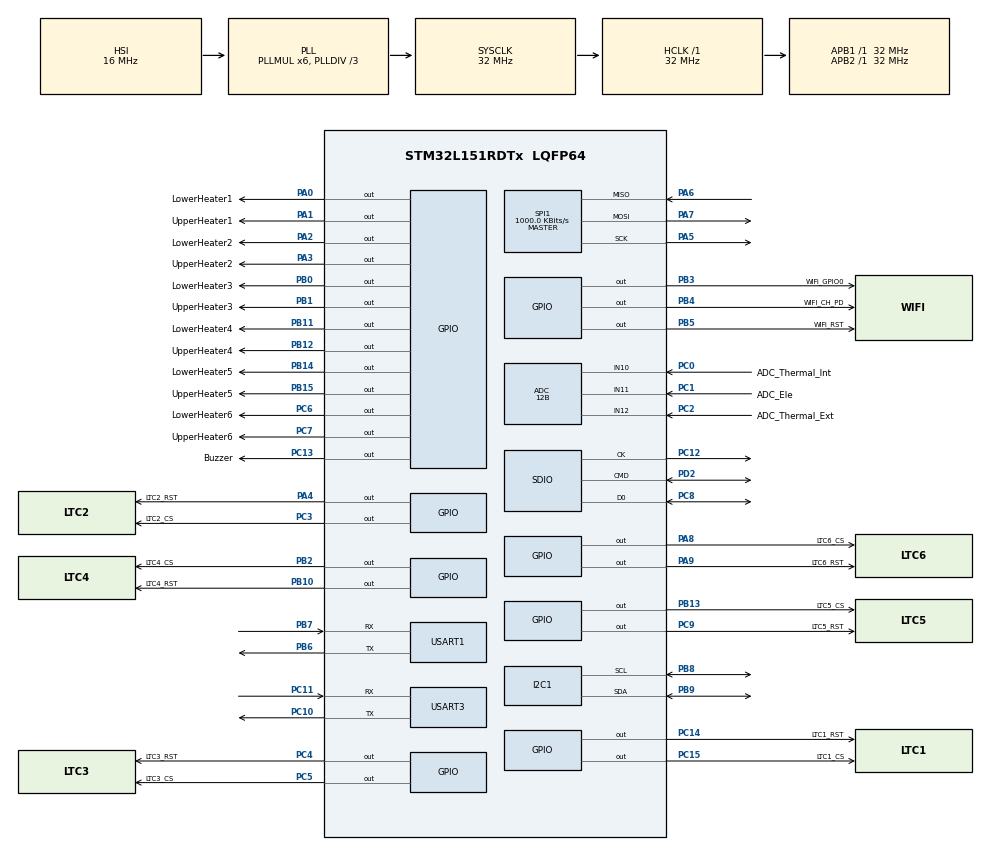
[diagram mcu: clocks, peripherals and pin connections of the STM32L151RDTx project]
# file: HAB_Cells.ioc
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ADC.Channel-0\#ChannelRegularConversion=ADC_CHANNEL_10
ADC.ChannelsBank=ADC_CHANNELS_BANK_A
ADC.ClockPrescaler=ADC_CLOCK_ASYNC_DIV1
ADC.ContinuousConvMode=DISABLE
ADC.DMAContinuousRequests=DISABLE
ADC.DataAlign=ADC_DATAALIGN_RIGHT
ADC.DiscontinuousConvMode=DISABLE
ADC.EOCSelection=ADC_EOC_SEQ_CONV
ADC.EnableAnalogWatchDog=false
ADC.ExternalTrigConv=ADC_SOFTWARE_START
ADC.ExternalTrigConvEdge=ADC_EXTERNALTRIGCONVEDGE_NONE
ADC.InjNumberOfConversion=0
ADC.LowPowerAutoPowerOff=ADC_AUTOPOWEROFF_DISABLE
ADC.LowPowerAutoWait=ADC_AUTOWAIT_DISABLE
ADC.NbrOfConversion=1
ADC.NbrOfConversionFlag=1
ADC.Rank-0\#ChannelRegularConversion=1
ADC.Resolution=ADC_RESOLUTION_12B
ADC.SamplingTime-0\#ChannelRegularConversion=ADC_SAMPLETIME_4CYCLES
ADC.ScanConvMode=ADC_SCAN_DISABLE
Dma.Request0=USART1_RX
Dma.Request1=USART1_TX
Dma.Request2=USART3_RX
Dma.Request3=USART3_TX
Dma.USART1_RX.0.Direction=DMA_PERIPH_TO_MEMORY
Dma.USART1_RX.0.Instance=DMA1_Channel5
Dma.USART1_RX.0.MemDataAlignment=DMA_MDATAALIGN_BYTE
Dma.USART1_RX.0.MemInc=DMA_MINC_ENABLE
Dma.USART1_RX.0.Mode=DMA_NORMAL
Dma.USART1_RX.0.PeriphDataAlignment=DMA_PDATAALIGN_BYTE
Dma.USART1_RX.0.PeriphInc=DMA_PINC_DISABLE
Dma.USART1_RX.0.Priority=DMA_PRIORITY_LOW
Dma.USART1_TX.1.Direction=DMA_MEMORY_TO_PERIPH
Dma.USART1_TX.1.Instance=DMA1_Channel4
Dma.USART1_TX.1.MemDataAlignment=DMA_MDATAALIGN_BYTE
Dma.USART1_TX.1.MemInc=DMA_MINC_ENABLE
Dma.USART1_TX.1.Mode=DMA_NORMAL
Dma.USART1_TX.1.PeriphDataAlignment=DMA_PDATAALIGN_BYTE
Dma.USART1_TX.1.PeriphInc=DMA_PINC_DISABLE
Dma.USART1_TX.1.Priority=DMA_PRIORITY_LOW
Dma.USART3_RX.2.Direction=DMA_PERIPH_TO_MEMORY
Dma.USART3_RX.2.Instance=DMA1_Channel3
Dma.USART3_RX.2.MemDataAlignment=DMA_MDATAALIGN_BYTE
Dma.USART3_RX.2.MemInc=DMA_MINC_ENABLE
Dma.USART3_RX.2.Mode=DMA_NORMAL
Dma.USART3_RX.2.PeriphDataAlignment=DMA_PDATAALIGN_BYTE
Dma.USART3_RX.2.PeriphInc=DMA_PINC_DISABLE
Dma.USART3_RX.2.Priority=DMA_PRIORITY_LOW
Dma.USART3_TX.3.Direction=DMA_MEMORY_TO_PERIPH
Dma.USART3_TX.3.Instance=DMA1_Channel2
Dma.USART3_TX.3.MemDataAlignment=DMA_MDATAALIGN_BYTE
Dma.USART3_TX.3.MemInc=DMA_MINC_ENABLE
Dma.USART3_TX.3.Mode=DMA_NORMAL
Dma.USART3_TX.3.PeriphDataAlignment=DMA_PDATAALIGN_BYTE
Dma.USART3_TX.3.PeriphInc=DMA_PINC_DISABLE
Dma.USART3_TX.3.Priority=DMA_PRIORITY_LOW
FATFS._MAX_SS=4096
FREERTOS.BinarySemaphores01=UART_WiFi_Tx_Cplt,Dynamic,NULL;UART_WiFi_Rx_Cplt,Dynamic,NULL;UART_Debug_Rx_Cplt,Dynamic,NULL;UART_Debug_Tx_Cplt,Dynamic,NULL
FREERTOS.INCLUDE_vTaskDelayUntil=1
FREERTOS.Queues01=qToHeatingTask,4,pidSignals_t,NULL,Dynamic,NULL,NULL;qToSaveTask,2,saveData_t,NULL,Dynamic,NULL,NULL;qToWatchdogTask,5,uint8_t,NULL,Dynamic,NULL,NULL;qFromUartDebug,1,uint8_t,NULL,Dynamic,NULL,NULL
FREERTOS.Tasks01=SaveTask,0,3060,StartSaveTask,Default,NULL,Dynamic,NULL,NULL;WatchdogTask,0,128,StartWatchdogTask,Default,NULL,Dynamic,NULL,NULL;HeatingTask,3,128,StartHeatingTask,Default,NULL,Dynamic,NULL,NULL;ControlTask,2,1024,StartControlTask,Default,NULL,Dynamic,NULL,NULL
FREERTOS.configTOTAL_HEAP_SIZE=24576
Mcu.Family=STM32L1
Mcu.Name=STM32L151RDTx
Mcu.Package=LQFP64
NVIC.DMA1_Channel2_IRQn=true\:5\:0\:false\:false\:true\:true
NVIC.DMA1_Channel3_IRQn=true\:5\:0\:false\:false\:true\:true
NVIC.DMA1_Channel4_IRQn=true\:5\:0\:false\:false\:true\:true
NVIC.DMA1_Channel5_IRQn=true\:5\:0\:false\:false\:true\:true
NVIC.PriorityGroup=NVIC_PRIORITYGROUP_4
NVIC.TIM2_IRQn=true\:0\:0\:false\:false\:true\:false
NVIC.TIM6_IRQn=true\:5\:0\:false\:false\:true\:true
NVIC.TimeBase=TIM2_IRQn
NVIC.TimeBaseIP=TIM2
NVIC.USART1_IRQn=true\:5\:0\:false\:false\:true\:true
NVIC.USART3_IRQn=true\:5\:0\:false\:false\:true\:true
PA0-WKUP1.GPIO_Label=LowerHeater1
PA0-WKUP1.Signal=GPIO_Output
PA1.GPIO_Label=UpperHeater1
PA1.Signal=GPIO_Output
PA13.Mode=Serial_Wire
PA13.Signal=SYS_JTMS-SWDIO
PA14.Mode=Serial_Wire
PA14.Signal=SYS_JTCK-SWCLK
PA2.GPIO_Label=LowerHeater2
PA2.Signal=GPIO_Output
PA3.GPIO_Label=UpperHeater2
PA3.Signal=GPIO_Output
PA4.GPIO_Label=LTC2_RST
PA4.PinState=GPIO_PIN_SET
PA4.Signal=GPIO_Output
PA5.Mode=Full_Duplex_Master
PA5.Signal=SPI1_SCK
PA6.Mode=Full_Duplex_Master
PA6.Signal=SPI1_MISO
PA7.Mode=Full_Duplex_Master
PA7.Signal=SPI1_MOSI
PA8.GPIO_Label=LTC6_CS
PA8.PinState=GPIO_PIN_SET
PA8.Signal=GPIO_Output
PA9.GPIO_Label=LTC6_RST
PA9.PinState=GPIO_PIN_SET
PA9.Signal=GPIO_Output
PB0.GPIO_Label=LowerHeater3
PB0.Signal=GPIO_Output
PB1.GPIO_Label=UpperHeater3
PB1.Signal=GPIO_Output
PB10.GPIO_Label=LTC4_RST
PB10.PinState=GPIO_PIN_SET
PB10.Signal=GPIO_Output
PB11.GPIO_Label=LowerHeater4
PB11.Signal=GPIO_Output
PB12.GPIO_Label=UpperHeater4
PB12.Signal=GPIO_Output
PB13.GPIO_Label=LTC5_CS
PB13.PinState=GPIO_PIN_SET
PB13.Signal=GPIO_Output
PB14.GPIO_Label=LowerHeater5
PB14.Signal=GPIO_Output
PB15.GPIO_Label=UpperHeater5
PB15.Signal=GPIO_Output
PB2.GPIO_Label=LTC4_CS
PB2.PinState=GPIO_PIN_SET
PB2.Signal=GPIO_Output
PB3.GPIO_Label=WiFi_GPIO0
PB3.Signal=GPIO_Output
PB4.GPIO_Label=WiFI_CH_PD
PB4.Signal=GPIO_Output
PB5.GPIO_Label=WiFi_RST
PB5.Signal=GPIO_Output
PB6.Mode=Asynchronous
PB6.Signal=USART1_TX
PB7.Mode=Asynchronous
PB7.Signal=USART1_RX
PB8.Mode=I2C
PB8.Signal=I2C1_SCL
PB9.Mode=I2C
PB9.Signal=I2C1_SDA
PC0.GPIO_Label=ADC_Thermal_Int
PC0.Mode=IN10
PC0.Signal=ADC_IN10
PC1.GPIO_Label=ADC_Ele
PC1.Mode=IN11
PC1.Signal=ADC_IN11
PC10.Mode=Asynchronous
PC10.Signal=USART3_TX
PC11.Mode=Asynchronous
PC11.Signal=USART3_RX
PC12.Mode=SD_1_bit
PC12.Signal=SDIO_CK
PC13-WKUP2.GPIO_Label=Buzzer
PC13-WKUP2.Signal=GPIO_Output
PC14-OSC32_IN.GPIO_Label=LTC1_RST
PC14-OSC32_IN.PinState=GPIO_PIN_SET
PC14-OSC32_IN.Signal=GPIO_Output
PC15-OSC32_OUT.GPIO_Label=LTC1_CS
PC15-OSC32_OUT.PinState=GPIO_PIN_SET
PC15-OSC32_OUT.Signal=GPIO_Output
PC2.GPIO_Label=ADC_Thermal_Ext
PC2.Mode=IN12
PC2.Signal=ADC_IN12
PC3.GPIO_Label=LTC2_CS
PC3.PinState=GPIO_PIN_SET
PC3.Signal=GPIO_Output
PC4.GPIO_Label=LTC3_RST
PC4.PinState=GPIO_PIN_SET
PC4.Signal=GPIO_Output
PC5.GPIO_Label=LTC3_CS
PC5.PinState=GPIO_PIN_SET
PC5.Signal=GPIO_Output
PC6.GPIO_Label=LowerHeater6
PC6.Signal=GPIO_Output
PC7.GPIO_Label=UpperHeater6
PC7.Signal=GPIO_Output
PC8.Mode=SD_1_bit
PC8.Signal=SDIO_D0
PC9.GPIO_Label=LTC5_RST
PC9.PinState=GPIO_PIN_SET
PC9.Signal=GPIO_Output
PD2.Mode=SD_1_bit
PD2.Signal=SDIO_CMD
ProjectManager.HeapSize=0x400
ProjectManager.StackSize=0x800
ProjectManager.TargetToolchain=SW4STM32
RCC.AHBFreq_Value=32000000
RCC.APB1Freq_Value=32000000
RCC.APB1TimFreq_Value=32000000
RCC.APB2Freq_Value=32000000
RCC.APB2TimFreq_Value=32000000
RCC.HCLKFreq_Value=32000000
RCC.HSE_VALUE=24000000
RCC.HSI_VALUE=16000000
RCC.LSE_VALUE=32768
RCC.MSI_VALUE=2097000
RCC.PLLDIV=RCC_PLL_DIV3
RCC.PLLMUL=RCC_PLL_MUL6
RCC.SYSCLKFreq_VALUE=32000000
RCC.SYSCLKSource=RCC_SYSCLKSOURCE_PLLCLK
RCC.USBOutput=48000000
RCC.VCOOutputFreq_Value=96000000
SPI1.BaudRatePrescaler=SPI_BAUDRATEPRESCALER_32
SPI1.CalculateBaudRate=1000.0 KBits/s
SPI1.Direction=SPI_DIRECTION_2LINES
SPI1.Mode=SPI_MODE_MASTER
SPI1.VirtualType=VM_MASTER
TIM6.Period=104
TIM6.Prescaler=32
USART1.VirtualMode=VM_ASYNC
USART3.VirtualMode=VM_ASYNC
VP_FATFS_VS_SDIO.Mode=SDIO
VP_FREERTOS_VS_ENABLE.Mode=Enabled
VP_SYS_VS_tim2.Mode=TIM2
VP_TIM6_VS_ClockSourceINT.Mode=Enable_Timer
board=HAB_Cells

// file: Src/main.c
/**
 ******************************************************************************
 * File Name          : main.c
 * Description        : Main program body
 ******************************************************************************
 * This notice applies to any and all portions of this file
 * that are not between comment pairs USER CODE BEGIN and
 * USER CODE END. Other portions of this file, whether
 * inserted by the user or by software development tools
 * are owned by their respective copyright owners.
 *
 * Copyright (c) 2020 STMicroelectronics International N.V.
 * All rights reserved.
 *
 * Redistribution and use in source and binary forms, with or without
 * modification, are permitted, provided that the following conditions are met:
 *
 * 1. Redistribution of source code must retain the above copyright notice,
 *    this list of conditions and the following disclaimer.
 * 2. Redistributions in binary form must reproduce the above copyright notice,
 *    this list of conditions and the following disclaimer in the documentation
 *    and/or other materials provided with the distribution.
 * 3. Neither the name of STMicroelectronics nor the names of other
 *    contributors to this software may be used to endorse or promote products
 *    derived from this software without specific written permission.
 * 4. This software, including modifications and/or derivative works of this
 *    software, must execute solely and exclusively on microcontroller or
 *    microprocessor devices manufactured by or for STMicroelectronics.
 * 5. Redistribution and use of this software other than as permitted under
 *    this license is void and will automatically terminate your rights under
 *    this license.
 *
 * THIS SOFTWARE IS PROVIDED BY STMICROELECTRONICS AND CONTRIBUTORS "AS IS"
 * AND ANY EXPRESS, IMPLIED OR STATUTORY WARRANTIES, INCLUDING, BUT NOT
 * LIMITED TO, THE IMPLIED WARRANTIES OF MERCHANTABILITY, FITNESS FOR A
 * PARTICULAR PURPOSE AND NON-INFRINGEMENT OF THIRD PARTY INTELLECTUAL PROPERTY
 * RIGHTS ARE DISCLAIMED TO THE FULLEST EXTENT PERMITTED BY LAW. IN NO EVENT
 * SHALL STMICROELECTRONICS OR CONTRIBUTORS BE LIABLE FOR ANY DIRECT, INDIRECT,
 * INCIDENTAL, SPECIAL, EXEMPLARY, OR CONSEQUENTIAL DAMAGES (INCLUDING, BUT NOT
 * LIMITED TO, PROCUREMENT OF SUBSTITUTE GOODS OR SERVICES; LOSS OF USE, DATA,
 * OR PROFITS; OR BUSINESS INTERRUPTION) HOWEVER CAUSED AND ON ANY THEORY OF
 * LIABILITY, WHETHER IN CONTRACT, STRICT LIABILITY, OR TORT (INCLUDING
 * NEGLIGENCE OR OTHERWISE) ARISING IN ANY WAY OUT OF THE USE OF THIS SOFTWARE,
 * EVEN IF ADVISED OF THE POSSIBILITY OF SUCH DAMAGE.
 *
 ******************************************************************************
 */
#include "main.h"
#include "stm32l1xx_hal.h"
#include "cmsis_os.h"
#include "fatfs.h"

/* USER CODE BEGIN Includes */
#include <inttypes.h>
#include "LTC2983.h"
#define ARM_MATH_CM3
#include "arm_math.h"
#define LED_CONTROL_ADDR  (0x40 << 1)
#define DS3231Addr (0b1101000 << 1)

#define SET_TEMPERATURE  36.6f

#define PID_PARAM_KP  1.0f
#define PID_PARAM_KI  0.0f
#define PID_PARAM_KD  0.0f

#define LEDDRIVERAddr   (0b0100000 << 1)

#define UART_DEBUG huart3
#define UART_WIFI huart1
/* USER CODE END Includes */

ADC_HandleTypeDef hadc;

I2C_HandleTypeDef hi2c1;

SD_HandleTypeDef hsd;
HAL_SD_CardInfoTypedef SDCardInfo;

SPI_HandleTypeDef hspi1;

TIM_HandleTypeDef htim6;

UART_HandleTypeDef huart1;
UART_HandleTypeDef huart3;
DMA_HandleTypeDef hdma_usart1_rx;
DMA_HandleTypeDef hdma_usart1_tx;
DMA_HandleTypeDef hdma_usart3_rx;
DMA_HandleTypeDef hdma_usart3_tx;

osThreadId SaveTaskHandle;
osThreadId WatchdogTaskHandle;
osThreadId HeatingTaskHandle;
osThreadId ControlTaskHandle;
osMessageQId qToHeatingTaskHandle;
osMessageQId qToSaveTaskHandle;
osMessageQId qToWatchdogTaskHandle;
osMessageQId qFromUartDebugHandle;
osSemaphoreId UART_WiFi_Tx_CpltHandle;
osSemaphoreId UART_WiFi_Rx_CpltHandle;
osSemaphoreId UART_Debug_Rx_CpltHandle;
osSemaphoreId UART_Debug_Tx_CpltHandle;

/* USER CODE BEGIN PV */
/* Private variables ---------------------------------------------------------*/

FATFS my_fatfs;
FIL my_file;
UINT my_error;

uint8_t received_char = 0;
volatile uint8_t received_cnt = 0;
volatile uint8_t flag_PID_changed = 0;

uint8_t received_buf[128];

volatile float received_kp = PID_PARAM_KP;
volatile float received_ki = PID_PARAM_KI;
volatile float received_kd = PID_PARAM_KD;

const char* const dataStrings[] = { "Upper Sample: ", "Lower Sample: ",
		"Upper Heater: ", "Lower Heater: ", "Ambient: " };
uint8_t initMessage[] = "\r\nRESET\r\n";

typedef struct saveData_t_def {
	int32_t Temps[30];
	uint8_t LTCStatusMask[6];
	uint8_t Signals[12];
} saveData_t;

typedef struct calcPIDdata_t_def {
	float Temps[12];
	uint8_t Status[12];
} calcPIDdata_t;

typedef struct pidSignals_t_def {
	uint8_t Signals[12];
} pidSignals_t;
/* USER CODE END PV */

void SystemClock_Config(void);
static void MX_GPIO_Init(void);
static void MX_DMA_Init(void);
static void MX_ADC_Init(void);
static void MX_I2C1_Init(void);
static void MX_SDIO_SD_Init(void);
static void MX_SPI1_Init(void);
static void MX_USART1_UART_Init(void);
static void MX_USART3_UART_Init(void);
static void MX_TIM6_Init(void);
void StartSaveTask(void const * argument);
void StartWatchdogTask(void const * argument);
void StartHeatingTask(void const * argument);
void StartControlTask(void const * argument);

/* USER CODE BEGIN PFP */
/* Private function prototypes -----------------------------------------------*/
void HAL_UART_RxCpltCallback(UART_HandleTypeDef *huart) {

	if (huart->Instance == USART3)
	{
		if (received_cnt < sizeof(received_buf) - 1) {
			received_buf[received_cnt++] = received_char;
		}
		if (received_char == '\r') {
			received_buf[received_cnt - 1] = '\0';
			xSemaphoreGiveFromISR(UART_Debug_Rx_CpltHandle, NULL);
		}
		HAL_UART_Receive_DMA(&UART_DEBUG, &received_char, 1);
	}
	if (huart->Instance == USART1)
	{
		xSemaphoreGiveFromISR(UART_WiFi_Rx_CpltHandle, NULL);
	}
}

void HAL_UART_TxCpltCallback(UART_HandleTypeDef *huart) {

	if (huart->Instance == USART3)
	{
		xSemaphoreGiveFromISR(UART_WiFi_Tx_CpltHandle, NULL);
	}
	if (huart->Instance == USART1)
	{
		xSemaphoreGiveFromISR(UART_WiFi_Rx_CpltHandle, NULL);
	}
}

/* USER CODE END PFP */

int main(void) {

	/* MCU Configuration----------------------------------------------------------*/

	/* Reset of all peripherals, Initializes the Flash interface and the Systick. */
	HAL_Init();

	/* Configure the system clock */
	SystemClock_Config();

	/* Initialize all configured peripherals */
	MX_GPIO_Init();
	MX_DMA_Init();
	MX_ADC_Init();
	MX_I2C1_Init();
	MX_SDIO_SD_Init();
	MX_SPI1_Init();
	MX_USART1_UART_Init();
	MX_USART3_UART_Init();
	MX_TIM6_Init();

	/* Create the semaphores(s) */
	/* definition and creation of UART_WiFi_Tx_Cplt */
	osSemaphoreDef(UART_WiFi_Tx_Cplt);
	UART_WiFi_Tx_CpltHandle = osSemaphoreCreate(osSemaphore(UART_WiFi_Tx_Cplt),
			1);

	/* definition and creation of UART_WiFi_Rx_Cplt */
	osSemaphoreDef(UART_WiFi_Rx_Cplt);
	UART_WiFi_Rx_CpltHandle = osSemaphoreCreate(osSemaphore(UART_WiFi_Rx_Cplt),
			1);

	/* definition and creation of UART_Debug_Rx_Cplt */
	osSemaphoreDef(UART_Debug_Rx_Cplt);
	UART_Debug_Rx_CpltHandle = osSemaphoreCreate(
			osSemaphore(UART_Debug_Rx_Cplt), 1);

	/* definition and creation of UART_Debug_Tx_Cplt */
	osSemaphoreDef(UART_Debug_Tx_Cplt);
	UART_Debug_Tx_CpltHandle = osSemaphoreCreate(
			osSemaphore(UART_Debug_Tx_Cplt), 1);

	/* Create the thread(s) */
	/* definition and creation of SaveTask */
	osThreadDef(SaveTask, StartSaveTask, osPriorityNormal, 0, 3060);
	SaveTaskHandle = osThreadCreate(osThread(SaveTask), NULL);

	/* definition and creation of WatchdogTask */
	osThreadDef(WatchdogTask, StartWatchdogTask, osPriorityNormal, 0, 128);
	WatchdogTaskHandle = osThreadCreate(osThread(WatchdogTask), NULL);

	/* definition and creation of HeatingTask */
	osThreadDef(HeatingTask, StartHeatingTask, osPriorityRealtime, 0, 128);
	HeatingTaskHandle = osThreadCreate(osThread(HeatingTask), NULL);

	/* definition and creation of ControlTask */
	osThreadDef(ControlTask, StartControlTask, osPriorityHigh, 0, 1024);
	ControlTaskHandle = osThreadCreate(osThread(ControlTask), NULL);

	/* Create the queue(s) */
	/* definition and creation of qToHeatingTask */
	osMessageQDef(qToHeatingTask, 4, pidSignals_t);
	qToHeatingTaskHandle = osMessageCreate(osMessageQ(qToHeatingTask), NULL);

	/* definition and creation of qToSaveTask */
	osMessageQDef(qToSaveTask, 2, saveData_t);
	qToSaveTaskHandle = osMessageCreate(osMessageQ(qToSaveTask), NULL);

	/* definition and creation of qToWatchdogTask */
	osMessageQDef(qToWatchdogTask, 5, uint8_t);
	qToWatchdogTaskHandle = osMessageCreate(osMessageQ(qToWatchdogTask), NULL);

	/* definition and creation of qFromUartDebug */
	osMessageQDef(qFromUartDebug, 1, uint8_t);
	qFromUartDebugHandle = osMessageCreate(osMessageQ(qFromUartDebug), NULL);

	/* Start scheduler */
	osKernelStart();

	/* We should never get here as control is now taken by the scheduler */

	/* Infinite loop */
	while (1) {

	}

}

/** System Clock Configuration
 */
void SystemClock_Config(void) {

	RCC_OscInitTypeDef RCC_OscInitStruct;
	RCC_ClkInitTypeDef RCC_ClkInitStruct;

	/**Configure the main internal regulator output voltage
	 */
	__HAL_PWR_VOLTAGESCALING_CONFIG(PWR_REGULATOR_VOLTAGE_SCALE1);

	/**Initializes the CPU, AHB and APB busses clocks
	 */
	RCC_OscInitStruct.OscillatorType = RCC_OSCILLATORTYPE_HSI;
	RCC_OscInitStruct.HSIState = RCC_HSI_ON;
	RCC_OscInitStruct.HSICalibrationValue = 16;
	RCC_OscInitStruct.PLL.PLLState = RCC_PLL_ON;
	RCC_OscInitStruct.PLL.PLLSource = RCC_PLLSOURCE_HSI;
	RCC_OscInitStruct.PLL.PLLMUL = RCC_PLL_MUL6;
	RCC_OscInitStruct.PLL.PLLDIV = RCC_PLL_DIV3;
	if (HAL_RCC_OscConfig(&RCC_OscInitStruct) != HAL_OK) {
		_Error_Handler(__FILE__, __LINE__);
	}

	/**Initializes the CPU, AHB and APB busses clocks
	 */
	RCC_ClkInitStruct.ClockType = RCC_CLOCKTYPE_HCLK | RCC_CLOCKTYPE_SYSCLK
			| RCC_CLOCKTYPE_PCLK1 | RCC_CLOCKTYPE_PCLK2;
	RCC_ClkInitStruct.SYSCLKSource = RCC_SYSCLKSOURCE_PLLCLK;
	RCC_ClkInitStruct.AHBCLKDivider = RCC_SYSCLK_DIV1;
	RCC_ClkInitStruct.APB1CLKDivider = RCC_HCLK_DIV1;
	RCC_ClkInitStruct.APB2CLKDivider = RCC_HCLK_DIV1;

	if (HAL_RCC_ClockConfig(&RCC_ClkInitStruct, FLASH_LATENCY_1) != HAL_OK) {
		_Error_Handler(__FILE__, __LINE__);
	}

	/**Configure the Systick interrupt time
	 */
	HAL_SYSTICK_Config(HAL_RCC_GetHCLKFreq() / 1000);

	/**Configure the Systick
	 */
	HAL_SYSTICK_CLKSourceConfig(SYSTICK_CLKSOURCE_HCLK);

	/* SysTick_IRQn interrupt configuration */
	HAL_NVIC_SetPriority(SysTick_IRQn, 15, 0);
}

/* ADC init function */
static void MX_ADC_Init(void) {

	ADC_ChannelConfTypeDef sConfig;

	/**Configure the global features of the ADC (Clock, Resolution, Data Alignment and number of conversion)
	 */
	hadc.Instance = ADC1;
	hadc.Init.ClockPrescaler = ADC_CLOCK_ASYNC_DIV1;
	hadc.Init.Resolution = ADC_RESOLUTION_12B;
	hadc.Init.DataAlign = ADC_DATAALIGN_RIGHT;
	hadc.Init.ScanConvMode = ADC_SCAN_DISABLE;
	hadc.Init.EOCSelection = ADC_EOC_SEQ_CONV;
	hadc.Init.LowPowerAutoWait = ADC_AUTOWAIT_DISABLE;
	hadc.Init.LowPowerAutoPowerOff = ADC_AUTOPOWEROFF_DISABLE;
	hadc.Init.ChannelsBank = ADC_CHANNELS_BANK_A;
	hadc.Init.ContinuousConvMode = DISABLE;
	hadc.Init.NbrOfConversion = 1;
	hadc.Init.DiscontinuousConvMode = DISABLE;
	hadc.Init.ExternalTrigConv = ADC_SOFTWARE_START;
	hadc.Init.ExternalTrigConvEdge = ADC_EXTERNALTRIGCONVEDGE_NONE;
	hadc.Init.DMAContinuousRequests = DISABLE;
	if (HAL_ADC_Init(&hadc) != HAL_OK) {
		_Error_Handler(__FILE__, __LINE__);
	}

	/**Configure for the selected ADC regular channel its corresponding rank in the sequencer and its sample time.
	 */
	sConfig.Channel = ADC_CHANNEL_10;
	sConfig.Rank = 1;
	sConfig.SamplingTime = ADC_SAMPLETIME_4CYCLES;
	if (HAL_ADC_ConfigChannel(&hadc, &sConfig) != HAL_OK) {
		_Error_Handler(__FILE__, __LINE__);
	}

}

/* I2C1 init function */
static void MX_I2C1_Init(void) {

	hi2c1.Instance = I2C1;
	hi2c1.Init.ClockSpeed = 100000;
	hi2c1.Init.DutyCycle = I2C_DUTYCYCLE_2;
	hi2c1.Init.OwnAddress1 = 0;
	hi2c1.Init.AddressingMode = I2C_ADDRESSINGMODE_7BIT;
	hi2c1.Init.DualAddressMode = I2C_DUALADDRESS_DISABLE;
	hi2c1.Init.OwnAddress2 = 0;
	hi2c1.Init.GeneralCallMode = I2C_GENERALCALL_DISABLE;
	hi2c1.Init.NoStretchMode = I2C_NOSTRETCH_DISABLE;
	if (HAL_I2C_Init(&hi2c1) != HAL_OK) {
		_Error_Handler(__FILE__, __LINE__);
	}

}

/* SDIO init function */
static void MX_SDIO_SD_Init(void) {

	hsd.Instance = SDIO;
	hsd.Init.ClockEdge = SDIO_CLOCK_EDGE_RISING;
	hsd.Init.ClockBypass = SDIO_CLOCK_BYPASS_DISABLE;
	hsd.Init.ClockPowerSave = SDIO_CLOCK_POWER_SAVE_DISABLE;
	hsd.Init.BusWide = SDIO_BUS_WIDE_1B;
	hsd.Init.HardwareFlowControl = SDIO_HARDWARE_FLOW_CONTROL_DISABLE;
	hsd.Init.ClockDiv = 0;

}

/* SPI1 init function */
static void MX_SPI1_Init(void) {

	hspi1.Instance = SPI1;
	hspi1.Init.Mode = SPI_MODE_MASTER;
	hspi1.Init.Direction = SPI_DIRECTION_2LINES;
	hspi1.Init.DataSize = SPI_DATASIZE_8BIT;
	hspi1.Init.CLKPolarity = SPI_POLARITY_LOW;
	hspi1.Init.CLKPhase = SPI_PHASE_1EDGE;
	hspi1.Init.NSS = SPI_NSS_SOFT;
	hspi1.Init.BaudRatePrescaler = SPI_BAUDRATEPRESCALER_32;
	hspi1.Init.FirstBit = SPI_FIRSTBIT_MSB;
	hspi1.Init.TIMode = SPI_TIMODE_DISABLE;
	hspi1.Init.CRCCalculation = SPI_CRCCALCULATION_DISABLE;
	hspi1.Init.CRCPolynomial = 10;
	if (HAL_SPI_Init(&hspi1) != HAL_OK) {
		_Error_Handler(__FILE__, __LINE__);
	}

}

/* TIM6 init function */
static void MX_TIM6_Init(void) {

	TIM_MasterConfigTypeDef sMasterConfig;

	htim6.Instance = TIM6;
	htim6.Init.Prescaler = 32;
	htim6.Init.CounterMode = TIM_COUNTERMODE_UP;
	htim6.Init.Period = 104;
	if (HAL_TIM_Base_Init(&htim6) != HAL_OK) {
		_Error_Handler(__FILE__, __LINE__);
	}

	sMasterConfig.MasterOutputTrigger = TIM_TRGO_RESET;
	sMasterConfig.MasterSlaveMode = TIM_MASTERSLAVEMODE_DISABLE;
	if (HAL_TIMEx_MasterConfigSynchronization(&htim6, &sMasterConfig)
			!= HAL_OK) {
		_Error_Handler(__FILE__, __LINE__);
	}

}

/* USART1 init function */
static void MX_USART1_UART_Init(void) {

	huart1.Instance = USART1;
	huart1.Init.BaudRate = 115200;
	huart1.Init.WordLength = UART_WORDLENGTH_8B;
	huart1.Init.StopBits = UART_STOPBITS_1;
	huart1.Init.Parity = UART_PARITY_NONE;
	huart1.Init.Mode = UART_MODE_TX_RX;
	huart1.Init.HwFlowCtl = UART_HWCONTROL_NONE;
	huart1.Init.OverSampling = UART_OVERSAMPLING_16;
	if (HAL_UART_Init(&huart1) != HAL_OK) {
		_Error_Handler(__FILE__, __LINE__);
	}

}

/* USART3 init function */
static void MX_USART3_UART_Init(void) {

	huart3.Instance = USART3;
	huart3.Init.BaudRate = 115200;
	huart3.Init.WordLength = UART_WORDLENGTH_8B;
	huart3.Init.StopBits = UART_STOPBITS_1;
	huart3.Init.Parity = UART_PARITY_NONE;
	huart3.Init.Mode = UART_MODE_TX_RX;
	huart3.Init.HwFlowCtl = UART_HWCONTROL_NONE;
	huart3.Init.OverSampling = UART_OVERSAMPLING_16;
	if (HAL_UART_Init(&huart3) != HAL_OK) {
		_Error_Handler(__FILE__, __LINE__);
	}

}

static void MX_DMA_Init(void) {
	/* DMA controller clock enable */
	__HAL_RCC_DMA1_CLK_ENABLE()
	;

	/* DMA interrupt init */
	/* DMA1_Channel2_IRQn interrupt configuration */
	HAL_NVIC_SetPriority(DMA1_Channel2_IRQn, 5, 0);
	HAL_NVIC_EnableIRQ(DMA1_Channel2_IRQn);
	/* DMA1_Channel3_IRQn interrupt configuration */
	HAL_NVIC_SetPriority(DMA1_Channel3_IRQn, 5, 0);
	HAL_NVIC_EnableIRQ(DMA1_Channel3_IRQn);
	/* DMA1_Channel4_IRQn interrupt configuration */
	HAL_NVIC_SetPriority(DMA1_Channel4_IRQn, 5, 0);
	HAL_NVIC_EnableIRQ(DMA1_Channel4_IRQn);
	/* DMA1_Channel5_IRQn interrupt configuration */
	HAL_NVIC_SetPriority(DMA1_Channel5_IRQn, 5, 0);
	HAL_NVIC_EnableIRQ(DMA1_Channel5_IRQn);

}

/** Configure pins as
 * Analog
 * Input
 * Output
 * EVENT_OUT
 * EXTI
 */
static void MX_GPIO_Init(void) {

	GPIO_InitTypeDef GPIO_InitStruct;

	/* GPIO Ports Clock Enable */
	__HAL_RCC_GPIOC_CLK_ENABLE()
	;
	__HAL_RCC_GPIOA_CLK_ENABLE()
	;
	__HAL_RCC_GPIOB_CLK_ENABLE()
	;
	__HAL_RCC_GPIOD_CLK_ENABLE()
	;

	/*Configure GPIO pin Output Level */
	HAL_GPIO_WritePin(GPIOC, Buzzer_Pin | LowerHeater6_Pin | UpperHeater6_Pin,
			GPIO_PIN_RESET);

	/*Configure GPIO pin Output Level */
	HAL_GPIO_WritePin(GPIOC,
			LTC1_RST_Pin | LTC1_CS_Pin | LTC2_CS_Pin | LTC3_RST_Pin
					| LTC3_CS_Pin | LTC5_RST_Pin, GPIO_PIN_SET);

	/*Configure GPIO pin Output Level */
	HAL_GPIO_WritePin(GPIOA,
			LowerHeater1_Pin | UpperHeater1_Pin | LowerHeater2_Pin
					| UpperHeater2_Pin, GPIO_PIN_RESET);

	/*Configure GPIO pin Output Level */
	HAL_GPIO_WritePin(GPIOA, LTC2_RST_Pin | LTC6_CS_Pin | LTC6_RST_Pin,
			GPIO_PIN_SET);

	/*Configure GPIO pin Output Level */
	HAL_GPIO_WritePin(GPIOB,
			LowerHeater3_Pin | UpperHeater3_Pin | LowerHeater4_Pin
					| UpperHeater4_Pin | LowerHeater5_Pin | UpperHeater5_Pin
					| WiFi_GPIO0_Pin | WiFI_CH_PD_Pin | WiFi_RST_Pin,
			GPIO_PIN_RESET);

	/*Configure GPIO pin Output Level */
	HAL_GPIO_WritePin(GPIOB, LTC4_CS_Pin | LTC4_RST_Pin | LTC5_CS_Pin,
			GPIO_PIN_SET);

	/*Configure GPIO pins : Buzzer_Pin LTC1_RST_Pin LTC1_CS_Pin LTC2_CS_Pin
	 LTC3_RST_Pin LTC3_CS_Pin LowerHeater6_Pin UpperHeater6_Pin
	 LTC5_RST_Pin */
	GPIO_InitStruct.Pin = Buzzer_Pin | LTC1_RST_Pin | LTC1_CS_Pin | LTC2_CS_Pin
			| LTC3_RST_Pin | LTC3_CS_Pin | LowerHeater6_Pin | UpperHeater6_Pin
			| LTC5_RST_Pin;
	GPIO_InitStruct.Mode = GPIO_MODE_OUTPUT_PP;
	GPIO_InitStruct.Pull = GPIO_NOPULL;
	GPIO_InitStruct.Speed = GPIO_SPEED_FREQ_LOW;
	HAL_GPIO_Init(GPIOC, &GPIO_InitStruct);

	/*Configure GPIO pins : LowerHeater1_Pin UpperHeater1_Pin LowerHeater2_Pin UpperHeater2_Pin
	 LTC2_RST_Pin LTC6_CS_Pin LTC6_RST_Pin */
	GPIO_InitStruct.Pin = LowerHeater1_Pin | UpperHeater1_Pin | LowerHeater2_Pin
			| UpperHeater2_Pin | LTC2_RST_Pin | LTC6_CS_Pin | LTC6_RST_Pin;
	GPIO_InitStruct.Mode = GPIO_MODE_OUTPUT_PP;
	GPIO_InitStruct.Pull = GPIO_NOPULL;
	GPIO_InitStruct.Speed = GPIO_SPEED_FREQ_LOW;
	HAL_GPIO_Init(GPIOA, &GPIO_InitStruct);

	/*Configure GPIO pins : LowerHeater3_Pin UpperHeater3_Pin LTC4_CS_Pin LTC4_RST_Pin
	 LowerHeater4_Pin UpperHeater4_Pin LTC5_CS_Pin LowerHeater5_Pin
	 UpperHeater5_Pin WiFi_GPIO0_Pin WiFI_CH_PD_Pin WiFi_RST_Pin */
	GPIO_InitStruct.Pin = LowerHeater3_Pin | UpperHeater3_Pin | LTC4_CS_Pin
			| LTC4_RST_Pin | LowerHeater4_Pin | UpperHeater4_Pin | LTC5_CS_Pin
			| LowerHeater5_Pin | UpperHeater5_Pin | WiFi_GPIO0_Pin
			| WiFI_CH_PD_Pin | WiFi_RST_Pin;
	GPIO_InitStruct.Mode = GPIO_MODE_OUTPUT_PP;
	GPIO_InitStruct.Pull = GPIO_NOPULL;
	GPIO_InitStruct.Speed = GPIO_SPEED_FREQ_LOW;
	HAL_GPIO_Init(GPIOB, &GPIO_InitStruct);

}

/* USER CODE BEGIN 4 */

static uint16_t WriteToSD(uint8_t* buf, uint8_t len) {
	char my_file_name[20];
	static uint8_t datalogNum = 0;
	uint16_t returnCode = 0;
	FRESULT fresult;
	uint32_t fileSize;

	memset(my_file_name, ' ', sizeof(my_file_name));
	sprintf(my_file_name, "cells%d.txt", datalogNum);
	__disable_irq();
	fresult = f_open(&my_file, my_file_name, FA_WRITE | FA_OPEN_ALWAYS);
	fileSize = f_size(&my_file);
	fresult = f_close(&my_file);
	if (fileSize > 1000000) {
		datalogNum++;
		sprintf(my_file_name, "cells%d.txt", datalogNum);
		// reset file object
		memset(&my_file, 0x00, sizeof(my_file));
		fileSize = 0;
	}
	__enable_irq();
	__disable_irq();
	fresult = f_open(&my_file, my_file_name, FA_WRITE | FA_OPEN_ALWAYS);
	if (fresult == FR_OK) {
		fresult = f_lseek(&my_file, fileSize);
		fresult = f_write(&my_file, buf, len, &my_error);
		if (fresult == FR_OK) {
			fresult = f_close(&my_file);
			if (fresult != FR_OK) {
				returnCode = SD_ERR;
			}
		} else {
			returnCode = SD_ERR;
		}
	} else {
		returnCode = SD_ERR;
	}
	__enable_irq();
	osDelay(10);
	return returnCode;
}

void arm_pid_init_f32(arm_pid_instance_f32 * S, int32_t resetStateFlag) {

	/* Derived coefficient A0 */
	S->A0 = S->Kp + S->Ki + S->Kd;

	/* Derived coefficient A1 */
	S->A1 = (-S->Kp) - ((float32_t) 2.0 * S->Kd);

	/* Derived coefficient A2 */
	S->A2 = S->Kd;

	/* Check whether state needs reset or not */
	if (resetStateFlag) {
		/* Clear the state buffer.  The size will be always 3 samples */
		memset(S->state, 0, 3u * sizeof(float32_t));
	}

}

uint16_t ReadADC(uint8_t adcnum) {
	ADC_ChannelConfTypeDef adc_ch;

	switch (adcnum) {
	case 0:
		adc_ch.Channel = ADC_CHANNEL_10;
		break;
	case 1:
		adc_ch.Channel = ADC_CHANNEL_11;
		break;
	case 2:
		adc_ch.Channel = ADC_CHANNEL_12;
		break;
	default:
		adc_ch.Channel = ADC_CHANNEL_10;
		break;
	}

	adc_ch.Rank = ADC_REGULAR_RANK_1;
	adc_ch.SamplingTime = ADC_SAMPLETIME_24CYCLES;
	HAL_ADC_ConfigChannel(&hadc, &adc_ch);
	HAL_ADC_Start(&hadc);
	HAL_ADC_PollForConversion(&hadc, 100);
	return HAL_ADC_GetValue(&hadc);
}
/* USER CODE END 4 */

/* StartSaveTask function */
void StartSaveTask(void const * argument) {
	/* init code for FATFS */
	MX_FATFS_Init();

	/* USER CODE BEGIN 5 */
	uint8_t SDBuffer[128];
	uint8_t SDBufLen = 0;
	uint8_t UARTBuffer[128];
	uint8_t UARTBufLen = 0;
	uint8_t UARTRxBuf[16];
	saveData_t data;
	int16_t tempToWrite[30];
	uint8_t i2cData[3];
	uint8_t hour = 0;
	uint8_t minute = 0;
	uint8_t second = 0;
	volatile uint8_t additionalFlags = 0;
	uint16_t statusFlags = 0;
	uint16_t ADC_thermal_int = 0;
	uint16_t ADC_thermal_ext = 0;
	uint16_t ADC_ele = 0;
	uint8_t dataToWatchdog = 0;
	memset(i2cData, 0, sizeof(i2cData));
	memset(data.Temps, 0, sizeof(data.Temps));
	uint32_t tick = osKernelSysTick();
	uint32_t ltcReadoutTick = 0;
	volatile int32_t altitude = 0;

	const char Ok[] = "@MarcinOK!";

	HAL_GPIO_WritePin(WiFI_CH_PD_GPIO_Port, WiFI_CH_PD_Pin, GPIO_PIN_SET);
	HAL_GPIO_WritePin(WiFi_RST_GPIO_Port, WiFi_RST_Pin, GPIO_PIN_SET);
	memset(i2cData, 0xFF, sizeof(i2cData));
	HAL_I2C_Master_Transmit(&hi2c1, LEDDRIVERAddr, (uint8_t*) i2cData, 2, 100);

	f_mount(&my_fatfs, SD_Path, 1);
	statusFlags |= WriteToSD((uint8_t*) initMessage, sizeof(initMessage));

	HAL_UART_Transmit_DMA(&UART_DEBUG, initMessage, sizeof(initMessage));

	memset(SDBuffer, 0, sizeof(SDBuffer));

	/* Infinite loop */
	for (;;) {

		tick = osKernelSysTick();
		statusFlags &= LOOP_CLEAR_MASK;
		if (flag_PID_changed)
		{
			UARTBufLen = sprintf((char*) UARTBuffer,
					"PID changed, P= %ld, I= %ld, D= %ld\r\n",
					(int32_t) (received_kp * 100.0f),
					(int32_t) (received_ki * 100.0f),
					(int32_t) (received_kd * 100.0f));

			xSemaphoreTake(UART_Debug_Tx_CpltHandle, 100);
			HAL_UART_Transmit_DMA(&UART_DEBUG, UARTBuffer, UARTBufLen);

			flag_PID_changed = 0;
		}

		// Fetch values from all other tasks
		if (xQueueReceive(qToSaveTaskHandle, &data, 0) == pdTRUE)
		{
			// Write to SD and WiFi
			ltcReadoutTick = osKernelSysTick();

			ADC_thermal_int = ReadADC(0);
			ADC_ele = ReadADC(1);
			ADC_thermal_ext = ReadADC(2);

			// Read RTC
			memset(i2cData, 0, sizeof(i2cData));
			if (HAL_I2C_Mem_Read(&hi2c1, DS3231Addr, 0x00, 1, i2cData, 3, 100)
					== HAL_OK) {
				second = ((i2cData[0] & 0b01110000) >> 4) * 10
						+ (i2cData[0] & 0b00001111);
				minute = ((i2cData[1] & 0b01110000) >> 4) * 10
						+ (i2cData[1] & 0b00001111);
				hour = ((i2cData[2] & 0b01110000) >> 4) * 10
						+ (i2cData[2] & 0b00001111);
				statusFlags &= ~RTC_ERR;
				SDBufLen = sprintf((char*) SDBuffer, "%d:%d:%d,",
						(int16_t) hour, (int16_t) minute, (int16_t) second);
			} else {
				statusFlags |= RTC_ERR;
				SDBufLen = sprintf((char*) SDBuffer, "00:00:00,");
			}

			if (SDBufLen > 0) {
				statusFlags |= WriteToSD(SDBuffer, SDBufLen);
			}

			UARTBufLen = sprintf((char*) UARTBuffer,
					"==============================\r\nTime = %s\r\n",
					SDBuffer);

			xSemaphoreTake(UART_Debug_Tx_CpltHandle, 200);
			HAL_UART_Transmit_DMA(&UART_DEBUG, UARTBuffer, UARTBufLen);

			SDBufLen = sprintf((char*) SDBuffer, "@MarcinSetValuesKom:");
			xSemaphoreTake(UART_WiFi_Tx_CpltHandle, 200);
			HAL_UART_Transmit_DMA(&UART_WIFI, SDBuffer, SDBufLen);

			for (uint32_t i = 0; i < 30; i++) {
				// truncate to 16 bit
				tempToWrite[i] = (int16_t) (data.Temps[i] / 10);
			}
			for (uint32_t i = 0; i < 30; i += 6)
			{

				UARTBufLen = sprintf((char*) UARTBuffer,
						"%s %hd,%hd,%hd,%hd,%hd,%hd\r\n", dataStrings[i / 6],
						tempToWrite[i], tempToWrite[i + 1], tempToWrite[i + 2],
						tempToWrite[i + 3], tempToWrite[i + 4],
						tempToWrite[i + 5]);

				xSemaphoreTake(UART_Debug_Tx_CpltHandle, 200);
				HAL_UART_Transmit_DMA(&UART_DEBUG, UARTBuffer, UARTBufLen);

				SDBufLen = sprintf((char*) SDBuffer, "%hd,%hd,%hd,%hd,%hd,%hd,",
						tempToWrite[i], tempToWrite[i + 1], tempToWrite[i + 2],
						tempToWrite[i + 3], tempToWrite[i + 4],
						tempToWrite[i + 5]);

				statusFlags |= WriteToSD(SDBuffer, SDBufLen);
				xSemaphoreTake(UART_WiFi_Tx_CpltHandle, 200);
				HAL_UART_Transmit_DMA(&UART_WIFI, SDBuffer, SDBufLen);

			}

			UARTBufLen = sprintf((char*) UARTBuffer,
					"Lower Signals: %hu,%hu,%hu,%hu,%hu,%hu\r\n",
					data.Signals[0], data.Signals[1], data.Signals[2],
					data.Signals[3], data.Signals[4], data.Signals[5]);
			xSemaphoreTake(UART_Debug_Tx_CpltHandle, 200);
			HAL_UART_Transmit_DMA(&UART_DEBUG, UARTBuffer, UARTBufLen);

			statusFlags |= WriteToSD(SDBuffer, SDBufLen);
			SDBufLen = sprintf((char*) SDBuffer, "%hu,%hu,%hu,%hu,%hu,%hu,",
					data.Signals[0], data.Signals[1], data.Signals[2],
					data.Signals[3], data.Signals[4], data.Signals[5]);

			xSemaphoreTake(UART_WiFi_Tx_CpltHandle, 200);
			HAL_UART_Transmit_DMA(&UART_WIFI, SDBuffer, SDBufLen);

			UARTBufLen = sprintf((char*) UARTBuffer,
					"Upper Signals: %hu,%hu,%hu,%hu,%hu,%hu\r\n",
					data.Signals[6], data.Signals[7], data.Signals[8],
					data.Signals[9], data.Signals[10], data.Signals[11]);
			xSemaphoreTake(UART_Debug_Tx_CpltHandle, 200);
			HAL_UART_Transmit_DMA(&UART_DEBUG, UARTBuffer, UARTBufLen);

			SDBufLen = sprintf((char*) SDBuffer, "%hu,%hu,%hu,%hu,%hu,%hu,",
					data.Signals[6], data.Signals[7], data.Signals[8],
					data.Signals[9], data.Signals[10], data.Signals[11]);
			statusFlags |= WriteToSD(SDBuffer, SDBufLen);
			xSemaphoreTake(UART_WiFi_Tx_CpltHandle, 200);
			HAL_UART_Transmit_DMA(&UART_WIFI, SDBuffer, SDBufLen);

			UARTBufLen =
					sprintf((char*) UARTBuffer,
							"LTC Status: %02x, %02x, %02x, %02x, %02x, %02x\r\nStatusFlags: %04x\r\n",
							data.LTCStatusMask[0], data.LTCStatusMask[1],
							data.LTCStatusMask[2], data.LTCStatusMask[3],
							data.LTCStatusMask[4], data.LTCStatusMask[5],
							statusFlags);

			xSemaphoreTake(UART_Debug_Tx_CpltHandle, 200);
			HAL_UART_Transmit_DMA(&UART_DEBUG, UARTBuffer, UARTBufLen);

			SDBufLen = sprintf((char*) SDBuffer,
					"%02x,%02x,%02x,%02x,%02x,%02x,%02x,",
					data.LTCStatusMask[0], data.LTCStatusMask[1],
					data.LTCStatusMask[2], data.LTCStatusMask[3],
					data.LTCStatusMask[4], data.LTCStatusMask[5], statusFlags);
			statusFlags |= WriteToSD(SDBuffer, SDBufLen);

			UARTBufLen =
					sprintf((char*) UARTBuffer,
							"ADC Thermal internal: %u\r\nADC Thermal external: %u\r\nADC Ele: %u\r\n",
							ADC_thermal_int, ADC_thermal_ext, ADC_ele);

			xSemaphoreTake(UART_Debug_Tx_CpltHandle, 200);
			HAL_UART_Transmit_DMA(&UART_DEBUG, UARTBuffer, UARTBufLen);

			SDBufLen = sprintf((char*) SDBuffer, "%u,%u,%u\r\n",
					ADC_thermal_int, ADC_thermal_ext, ADC_ele);
			statusFlags |= WriteToSD(SDBuffer, SDBufLen);

			SDBufLen = sprintf((char*) SDBuffer, "%hu!\r\n",
					(int16_t) statusFlags);
			xSemaphoreTake(UART_WiFi_Tx_CpltHandle, 200);
			HAL_UART_Receive_DMA(&UART_WIFI, UARTRxBuf, 10);
			HAL_UART_Transmit_DMA(&UART_WIFI, SDBuffer, SDBufLen);

			if (xSemaphoreTake(UART_WiFi_Rx_CpltHandle, 500) == pdTRUE)
			{
				// data from WiFi received
				if (strstr((char*) UARTRxBuf, Ok) != NULL) {
					additionalFlags &= ~ADDITIONAL_FLAGS_WIFI_ERR;
				} else {
					additionalFlags |= ADDITIONAL_FLAGS_WIFI_ERR;
				}
			} else {
				// data from WiFi not received
				additionalFlags |= ADDITIONAL_FLAGS_WIFI_ERR;
			}

			SDBufLen = sprintf((char*) SDBuffer, "@MarcinGetWysokosc!\r\n");
			xSemaphoreTake(UART_WiFi_Tx_CpltHandle, 200);
			HAL_UART_Receive_DMA(&UART_WIFI, UARTRxBuf, 4);
			HAL_UART_Transmit_DMA(&UART_WIFI, SDBuffer, SDBufLen);

			if (xSemaphoreTake(UART_WiFi_Rx_CpltHandle, 500) == pdTRUE)
			{
				altitude = (int32_t) (((uint32_t) UARTRxBuf[0] << 24)
						+ ((uint32_t) UARTRxBuf[1] << 16)
						+ ((uint32_t) UARTRxBuf[2] << 8) + (UARTRxBuf[3]));
				additionalFlags &= ~ADDITIONAL_FLAGS_WIFI_ERR;
			} else {
				// data from WiFi not received
				additionalFlags |= ADDITIONAL_FLAGS_WIFI_ERR;
			}

			// if flag from wifi get enable buzzer
			//HAL_TIM_Base_Start_IT(&htim6);

		}

		/* print received characters count
		 UARTBufLen = sprintf((char*) UARTBuffer, "Cnt = %02x\r\n", received_cnt);
		 if (UARTBufLen > 0)
		 {
		 HAL_UART_Transmit(&UART_DEBUG, UARTBuffer, UARTBufLen, 100);
		 }
		 */

		if (tick - ltcReadoutTick > 15 * configTICK_RATE_HZ) {
			statusFlags |= LTC_ERR;
		} else {
			statusFlags &= ~LTC_ERR;
		}

		for (uint32_t i = 0; i < 12; i++) {
			if ((data.Temps[i] < 37000) && (data.Temps[i] > 35000)) {
				statusFlags |= (1 << i);
			} else {
				statusFlags &= ~(1 << i);
			}
		}

		if (statusFlags & SD_ERR) {
			dataToWatchdog = 1;
		} else {
			dataToWatchdog = 0;
		}
		xQueueSend(qToWatchdogTaskHandle, &dataToWatchdog, 10);

		statusFlags ^= RUNNING;

		i2cData[0] = (uint8_t) (~statusFlags >> 8);
		i2cData[1] = (uint8_t) (~statusFlags & 0xFF);
		HAL_I2C_Master_Transmit(&hi2c1, LEDDRIVERAddr, (uint8_t*) i2cData, 2,
				100);
		osDelayUntil(&tick, 1000);

	}
	/* USER CODE END 5 */
}

/* StartWatchdogTask function */
void StartWatchdogTask(void const * argument) {
	/* USER CODE BEGIN StartWatchdogTask */
	uint8_t message = 0;
	RCC->CSR |= (1 << 0);                  // LSI enable, necessary for IWDG
	while ((RCC->CSR & (1 << 1)) == 0)
		;         // wait till LSI is ready
	IWDG->KR = 0x5555;
	IWDG->PR = 0x00000005;
	IWDG->RLR = 0x00000FFF;
	IWDG->KR = 0xCCCC;
	/* Infinite loop */
	for (;;) {
		xQueueReceive(qToWatchdogTaskHandle, &message, 10);
		if (message != 0) {
			osDelay(30000);
		} else {
			IWDG->KR = 0xAAAA;
		}
		osDelay(1000);
	}
	/* USER CODE END StartWatchdogTask */
}

/* StartHeatingTask function */
void StartHeatingTask(void const * argument) {
	/* USER CODE BEGIN StartHeatingTask */
	pidSignals_t pid_signals;
	GPIO_TypeDef * HeatingPorts[12] = {
	LowerHeater1_GPIO_Port, LowerHeater2_GPIO_Port, LowerHeater3_GPIO_Port,
	LowerHeater4_GPIO_Port, LowerHeater5_GPIO_Port, LowerHeater6_GPIO_Port,
	UpperHeater1_GPIO_Port, UpperHeater2_GPIO_Port, UpperHeater3_GPIO_Port,
	UpperHeater4_GPIO_Port, UpperHeater5_GPIO_Port, UpperHeater6_GPIO_Port };
	uint16_t HeatingPins[12] = {
	LowerHeater1_Pin, LowerHeater2_Pin, LowerHeater3_Pin, LowerHeater4_Pin,
	LowerHeater5_Pin, LowerHeater6_Pin, UpperHeater1_Pin, UpperHeater2_Pin,
	UpperHeater3_Pin, UpperHeater4_Pin, UpperHeater5_Pin, UpperHeater6_Pin };

	memset(&pid_signals, 0x00, sizeof(pid_signals));

	/* Infinite loop */
	for (;;) {

		// Get values from the control task, if there are any new
		xQueueReceive(qToHeatingTaskHandle, &pid_signals, 0);

		// Lower Sample 1 heating
		for (uint8_t i = 0; i < 12; i++) {
			if (pid_signals.Signals[i] > 0) {
				HAL_GPIO_WritePin(HeatingPorts[i], HeatingPins[i],
						GPIO_PIN_SET);
				osDelay(pid_signals.Signals[i]);
				//osDelay(100);
				HAL_GPIO_WritePin(HeatingPorts[i], HeatingPins[i],
						GPIO_PIN_RESET);
			}
			osDelay(100 - pid_signals.Signals[i]);
		}
	}
	/* USER CODE END StartHeatingTask */
}

/* StartControlTask function */
void StartControlTask(void const * argument) {
	/* USER CODE BEGIN StartControlTask */

	uint8_t uart_char = 0;
	int32_t received_kp_int = 0;
	int32_t received_ki_int = 0;
	int32_t received_kd_int = 0;

	float Temperatures[30];

	saveData_t data;

	pidSignals_t pid_signals;

	// mean temperatures that will be used as current temperature for PID algorithms, Lower6 then Upper6
	calcPIDdata_t CalculatedTemps;
	// outputs from PID for every sample, Lower6 then Upper6
	float ControlSignals[12];
	// converted outputs to 0-100% value to send to heating task, Lower6 than Upper6

	/* ARM PID Instance, float_32 format */
	arm_pid_instance_f32 PID[12];

	for (uint32_t i = 0; i < 12; i++) {
		PID[i].Kp = PID_PARAM_KP; /* Proporcional */
		PID[i].Ki = PID_PARAM_KI; /* Integral */
		PID[i].Kd = PID_PARAM_KD; /* Derivative */
		arm_pid_init_f32(&PID[i], 1);
	}
	// Configure LTCs
	ConfigureLTCs();

	memset(received_buf, 0, sizeof(received_buf));
	// Start listening on UART
	HAL_UART_Receive_DMA(&UART_DEBUG, &received_char, 1);

	/* Infinite loop */
	for (;;) {
		// check if data on UART was received
		if (xSemaphoreTake(UART_Debug_Rx_CpltHandle, 0) == pdTRUE)
		{
			if (sscanf((char*) received_buf,
					"P%" SCNd32 ",I%" SCNd32 ",D%" SCNd32, &received_kp_int,
					&received_ki_int, &received_kd_int) == 3)
			{
				// three arguments received, assign them and reinit PID
				received_kp = ((float) received_kp_int) / 100.0f;
				received_ki = ((float) received_ki_int) / 100.0f;
				received_kd = ((float) received_kd_int) / 100.0f;

				for (uint32_t i = 0; i < 12; i++) {
					PID[i].Kp = received_kp; /* Proporcional */
					PID[i].Ki = received_ki; /* Integral */
					PID[i].Kd = received_kd; /* Derivative */
					arm_pid_init_f32(&PID[i], 1);

					flag_PID_changed = 1;
				}
			}
			received_cnt = 0;
		}
		// Read LTCs, store readouts in the array
		// To do: return status bitmask and check for errors
		//
		//Sequence of each LTC record is:
		// UPPER_SAMPLE_CHANNEL
		// LOWER_SAMPLE_CHANNEL
		// UPPER_HEATER_CHANNEL
		// LOWER_HEATER_CHANNEL
		// AMBIENT_CHANNEL
		data.LTCStatusMask[0] = ReadLTCs(&Temperatures[0], 0);
		data.LTCStatusMask[1] = ReadLTCs(&Temperatures[5], 1);
		data.LTCStatusMask[2] = ReadLTCs(&Temperatures[10], 2);
		data.LTCStatusMask[3] = ReadLTCs(&Temperatures[15], 3);
		data.LTCStatusMask[4] = ReadLTCs(&Temperatures[20], 4);
		data.LTCStatusMask[5] = ReadLTCs(&Temperatures[25], 5);

		// first lower samples, 0.9 * sample + 0.1 * heater
		if (!(data.LTCStatusMask[0] & 0x02)) {
			// update calculated temps only if measurement is valid
			CalculatedTemps.Temps[0] = Temperatures[1]; //+ Temperatures[3];
			CalculatedTemps.Status[0] = 0;
		} else {
			CalculatedTemps.Status[0] = 1;
		}

		if (!(data.LTCStatusMask[1] & 0x02)) {
			CalculatedTemps.Temps[1] = Temperatures[6]; //+ 0.1f * Temperatures[8];
			CalculatedTemps.Status[1] = 0;
		} else {
			CalculatedTemps.Status[1] = 1;
		}

		if (!(data.LTCStatusMask[2] & 0x02)) {
			CalculatedTemps.Temps[2] = Temperatures[11]; //+ 0.1f * Temperatures[13];
			CalculatedTemps.Status[2] = 0;
		} else {
			CalculatedTemps.Status[2] = 1;
		}

		if (!(data.LTCStatusMask[3] & 0x02)) {
			CalculatedTemps.Temps[3] = Temperatures[16]; //+ 0.1f * Temperatures[18];
			CalculatedTemps.Status[3] = 0;
		} else {
			CalculatedTemps.Status[3] = 1;
		}

		if (!(data.LTCStatusMask[4] & 0x02)) {
			CalculatedTemps.Temps[4] = Temperatures[21]; //+ 0.1f * Temperatures[23];
			CalculatedTemps.Status[4] = 0;
		} else {
			CalculatedTemps.Status[4] = 1;
		}

		if (!(data.LTCStatusMask[5] & 0x02)) {
			CalculatedTemps.Temps[5] = Temperatures[26]; //+ 0.1f * Temperatures[28];
			CalculatedTemps.Status[5] = 0;
		} else {
			CalculatedTemps.Status[5] = 1;
		}

		// then upper samples
		if (!(data.LTCStatusMask[0] & 0x01)) {
			CalculatedTemps.Temps[6] = Temperatures[0]; //+ Temperatures[2];
			CalculatedTemps.Status[6] = 0;
		} else {
			CalculatedTemps.Status[6] = 1;
		}

		if (!(data.LTCStatusMask[1] & 0x01)) {
			CalculatedTemps.Temps[7] = Temperatures[5]; //+ Temperatures[7];
			CalculatedTemps.Status[7] = 0;
		} else {
			CalculatedTemps.Status[7] = 1;
		}

		if (!(data.LTCStatusMask[2] & 0x01)) {
			CalculatedTemps.Temps[8] = Temperatures[10]; //+ Temperatures[12];
			CalculatedTemps.Status[8] = 0;
		} else {
			CalculatedTemps.Status[8] = 1;
		}

		if (!(data.LTCStatusMask[3] & 0x01)) {
			CalculatedTemps.Temps[9] = Temperatures[15]; //+ Temperatures[17];
			CalculatedTemps.Status[9] = 0;
		} else {
			CalculatedTemps.Status[9] = 1;
		}

		if (!(data.LTCStatusMask[4] & 0x01)) {
			CalculatedTemps.Temps[10] = Temperatures[20]; //+ Temperatures[22];
			CalculatedTemps.Status[10] = 0;
		} else {
			CalculatedTemps.Status[10] = 1;
		}

		if (!(data.LTCStatusMask[5] & 0x01)) {
			CalculatedTemps.Temps[11] = Temperatures[25]; //+ Temperatures[27];
			CalculatedTemps.Status[11] = 0;
		} else {
			CalculatedTemps.Status[11] = 1;
		}

		for (uint32_t i = 0; i < 12; i++) {
			// PID calculations now

			// only perform calculations if calculatedtemps status is valid
			if (CalculatedTemps.Status[i] != 1) {
				ControlSignals[i] = arm_pid_f32(&PID[i],
				SET_TEMPERATURE - CalculatedTemps.Temps[i]);

				if (ControlSignals[i] > 100.0f) {
					ControlSignals[i] = 100.0f;
				} else if (ControlSignals[i] < 0.0f) {
					ControlSignals[i] = 0.0f;
				}
			} else {
				ControlSignals[i] = 0.0f;
			}

			// convert to integral value
			data.Signals[i] = (uint8_t) ControlSignals[i];
		}

		for (uint32_t i = 0; i < 5; i++) {
			for (uint32_t j = 0; j < 6; j++) {
				// Fill table in sequence:
				// UPPER_SAMPLE_CHANNEL1,2,3,4,5,6
				// LOWER_SAMPLE_CHANNEL1,2,3,4,5,6
				// UPPER_HEATER_CHANNEL1,2,3,4,5,6
				// LOWER_HEATER_CHANNEL1,2,3,4,5,6
				// AMBIENT_CHANNEL1,2,3,4,5,6

				data.Temps[(i * 6) + j] = (int32_t) (Temperatures[(j * 5) + i]
						* 1000);
			}
		}

		for (uint8_t i = 0; i < 12; i++) {
			pid_signals.Signals[i] = data.Signals[i];
		}
		// Send current control to HeatingTask
		xQueueSend(qToHeatingTaskHandle, &pid_signals.Signals, 10);

		// Send current control and temperatures to Save task
		xQueueSend(qToSaveTaskHandle, &data, 1);

		osDelay(1000);
	}
	/* USER CODE END StartControlTask */
}

void HAL_TIM_PeriodElapsedCallback(TIM_HandleTypeDef *htim) {
	if (htim->Instance == TIM2) {
		HAL_IncTick();
	}
}

void _Error_Handler(char * file, int line) {
	while (1) {
	}
}

/************************ (C) COPYRIGHT STMicroelectronics *****END OF FILE****/
